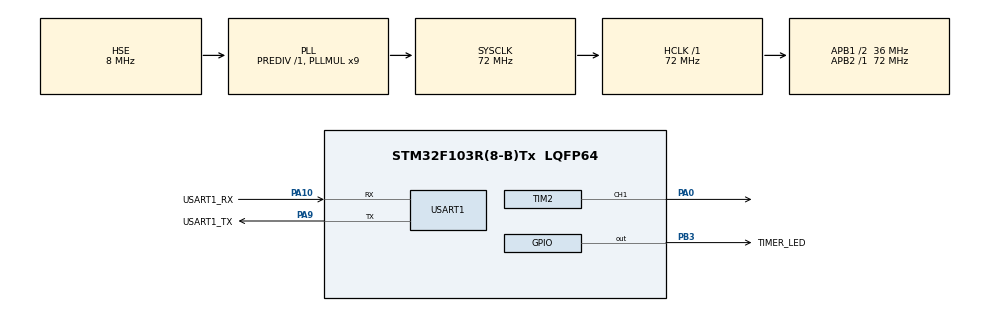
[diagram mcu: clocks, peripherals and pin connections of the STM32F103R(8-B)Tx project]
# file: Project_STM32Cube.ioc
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ADC1.Channel-1\#ChannelRegularConversion=ADC_CHANNEL_TEMPSENSOR
ADC1.ContinuousConvMode=DISABLE
ADC1.ExternalTrigConv=ADC_EXTERNALTRIGCONV_T3_TRGO
ADC1.NbrOfConversion=1
ADC1.NbrOfConversionFlag=1
ADC1.Rank-1\#ChannelRegularConversion=1
ADC1.SamplingTime-1\#ChannelRegularConversion=ADC_SAMPLETIME_239CYCLES_5
ADC1.master=1
Mcu.Family=STM32F1
Mcu.Name=STM32F103R(8-B)Tx
Mcu.Package=LQFP64
NVIC.ADC1_2_IRQn=true\:0\:0\:false\:false\:true\:true\:true\:true
NVIC.PriorityGroup=NVIC_PRIORITYGROUP_4
PA0-WKUP.Signal=S_TIM2_CH1_ETR
PA10.GPIO_Label=USART1_RX
PA10.Mode=Asynchronous
PA10.Signal=USART1_RX
PA13.Mode=Serial_Wire
PA13.Signal=SYS_JTMS-SWDIO
PA14.Mode=Serial_Wire
PA14.Signal=SYS_JTCK-SWCLK
PA9.GPIO_Label=USART1_TX
PA9.Mode=Asynchronous
PA9.Signal=USART1_TX
PB3.GPIO_Label=TIMER_LED
PB3.Signal=GPIO_Output
PD0-OSC_IN.Mode=HSE-External-Oscillator
PD0-OSC_IN.Signal=RCC_OSC_IN
PD1-OSC_OUT.Mode=HSE-External-Oscillator
PD1-OSC_OUT.Signal=RCC_OSC_OUT
ProjectManager.HeapSize=0x200
ProjectManager.StackSize=0x400
ProjectManager.TargetToolchain=STM32CubeIDE
RCC.ADCPresc=RCC_ADCPCLK2_DIV6
RCC.AHBFreq_Value=72000000
RCC.APB1CLKDivider=RCC_HCLK_DIV2
RCC.APB1Freq_Value=36000000
RCC.APB1TimFreq_Value=72000000
RCC.APB2Freq_Value=72000000
RCC.APB2TimFreq_Value=72000000
RCC.HCLKFreq_Value=72000000
RCC.PLLMUL=RCC_PLL_MUL9
RCC.PLLSourceVirtual=RCC_PLLSOURCE_HSE
RCC.SYSCLKFreq_VALUE=72000000
RCC.SYSCLKSource=RCC_SYSCLKSOURCE_PLLCLK
RCC.USBFreq_Value=72000000
SH.S_TIM2_CH1_ETR.0=TIM2_CH1,PWM Generation1 CH1
TIM2.AutoReloadPreload=TIM_AUTORELOAD_PRELOAD_ENABLE
TIM2.Channel-PWM\ Generation1\ CH1=TIM_CHANNEL_1
TIM2.Period=65535
TIM2.Prescaler=0
TIM2.Pulse-PWM\ Generation1\ CH1=0
TIM3.Period=7200-1
TIM3.Prescaler=200-1
TIM3.TIM_MasterOutputTrigger=TIM_TRGO_UPDATE
USART1.VirtualMode=VM_ASYNC
VP_ADC1_TempSens_Input.Mode=IN-TempSens
VP_TIM2_VS_ClockSourceINT.Mode=Internal
VP_TIM3_VS_ClockSourceINT.Mode=Internal
board=custom

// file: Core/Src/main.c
/* USER CODE BEGIN Header */
/**
  ******************************************************************************
  * @file           : main.c
  * @brief          : Main program body
  ******************************************************************************
  * @attention
  *
  * Copyright (c) 2025 STMicroelectronics.
  * All rights reserved.
  *
  * This software is licensed under terms that can be found in the LICENSE file
  * in the root directory of this software component.
  * If no LICENSE file comes with this software, it is provided AS-IS.
  *
  ******************************************************************************
  */
/* USER CODE END Header */
#include "main.h"

/* USER CODE BEGIN Includes */
#include <stdio.h>
#include <string.h>
/* USER CODE END Includes */

/* USER CODE BEGIN PD */
#define MAX_COUNTER_PERIOD	65535
#define AVG_SLOPE			(4.3F)
#define V_AT_25C			(1.43F)
#define V_REF_INT			(1.2F)
/* USER CODE END PD */

ADC_HandleTypeDef hadc1;

TIM_HandleTypeDef htim2;
TIM_HandleTypeDef htim3;

UART_HandleTypeDef huart1;

void SystemClock_Config(void);
static void MX_GPIO_Init(void);
static void MX_TIM2_Init(void);
static void MX_USART1_UART_Init(void);
static void MX_ADC1_Init(void);
static void MX_TIM3_Init(void);

/* USER CODE BEGIN 0 */
uint16_t adcValue = 0;
uint8_t updateEvent = 0;
float temperatureValue, VRefint;
/* USER CODE END 0 */

int main(void)
{

  /* MCU Configuration--------------------------------------------------------*/

  /* Reset of all peripherals, Initializes the Flash interface and the Systick. */
  HAL_Init();

  /* USER CODE BEGIN Init */
	uint32_t duty_cycle = 0;
  /* USER CODE END Init */

  /* Configure the system clock */
  SystemClock_Config();

  /* Initialize all configured peripherals */
  MX_GPIO_Init();
  MX_TIM2_Init();
  MX_USART1_UART_Init();
  MX_ADC1_Init();
  MX_TIM3_Init();
  /* USER CODE BEGIN 2 */
  // Start Timers
  HAL_TIM_PWM_Start(&htim2, TIM_CHANNEL_1);
  HAL_TIM_Base_Start(&htim3);
  // Calibrate ADCs
  HAL_ADCEx_Calibration_Start(&hadc1);
  // Start ADCs
  HAL_ADC_Start_IT(&hadc1);
  /* USER CODE END 2 */

  /* Infinite loop */
  while (1)
  {

    /* USER CODE BEGIN 3 */

	//While loops to control PWM signal for the LED
	while (duty_cycle < MAX_COUNTER_PERIOD)
	{
		TIM2->CCR1 = duty_cycle;
		duty_cycle += 350;
		HAL_Delay(2);
	}
	while (duty_cycle > 0)
	{
		TIM2->CCR1 = duty_cycle;
		duty_cycle -= 350;
		HAL_Delay(2);
	}
  }
  /* USER CODE END 3 */
}

void SystemClock_Config(void)
{
  RCC_OscInitTypeDef RCC_OscInitStruct = {0};
  RCC_ClkInitTypeDef RCC_ClkInitStruct = {0};
  RCC_PeriphCLKInitTypeDef PeriphClkInit = {0};

  /** Initializes the RCC Oscillators according to the specified parameters
  * in the RCC_OscInitTypeDef structure.
  */
  RCC_OscInitStruct.OscillatorType = RCC_OSCILLATORTYPE_HSE;
  RCC_OscInitStruct.HSEState = RCC_HSE_ON;
  RCC_OscInitStruct.HSEPredivValue = RCC_HSE_PREDIV_DIV1;
  RCC_OscInitStruct.HSIState = RCC_HSI_ON;
  RCC_OscInitStruct.PLL.PLLState = RCC_PLL_ON;
  RCC_OscInitStruct.PLL.PLLSource = RCC_PLLSOURCE_HSE;
  RCC_OscInitStruct.PLL.PLLMUL = RCC_PLL_MUL9;
  if (HAL_RCC_OscConfig(&RCC_OscInitStruct) != HAL_OK)
  {
    Error_Handler();
  }

  /** Initializes the CPU, AHB and APB buses clocks
  */
  RCC_ClkInitStruct.ClockType = RCC_CLOCKTYPE_HCLK|RCC_CLOCKTYPE_SYSCLK
                              |RCC_CLOCKTYPE_PCLK1|RCC_CLOCKTYPE_PCLK2;
  RCC_ClkInitStruct.SYSCLKSource = RCC_SYSCLKSOURCE_PLLCLK;
  RCC_ClkInitStruct.AHBCLKDivider = RCC_SYSCLK_DIV1;
  RCC_ClkInitStruct.APB1CLKDivider = RCC_HCLK_DIV2;
  RCC_ClkInitStruct.APB2CLKDivider = RCC_HCLK_DIV1;

  if (HAL_RCC_ClockConfig(&RCC_ClkInitStruct, FLASH_LATENCY_2) != HAL_OK)
  {
    Error_Handler();
  }
  PeriphClkInit.PeriphClockSelection = RCC_PERIPHCLK_ADC;
  PeriphClkInit.AdcClockSelection = RCC_ADCPCLK2_DIV6;
  if (HAL_RCCEx_PeriphCLKConfig(&PeriphClkInit) != HAL_OK)
  {
    Error_Handler();
  }
}

static void MX_ADC1_Init(void)
{

  ADC_ChannelConfTypeDef sConfig = {0};

  /* USER CODE BEGIN ADC1_Init 1 */
  // Activate internal temperature sensor and internal reference
  ADC1->CR2 |= ADC_CR2_TSVREFE;
  /* USER CODE END ADC1_Init 1 */

  /** Common config
  */
  hadc1.Instance = ADC1;
  hadc1.Init.ScanConvMode = ADC_SCAN_DISABLE;
  hadc1.Init.ContinuousConvMode = DISABLE;
  hadc1.Init.DiscontinuousConvMode = DISABLE;
  hadc1.Init.ExternalTrigConv = ADC_EXTERNALTRIGCONV_T3_TRGO;
  hadc1.Init.DataAlign = ADC_DATAALIGN_RIGHT;
  hadc1.Init.NbrOfConversion = 1;
  if (HAL_ADC_Init(&hadc1) != HAL_OK)
  {
    Error_Handler();
  }

  /** Configure Regular Channel
  */
  sConfig.Channel = ADC_CHANNEL_TEMPSENSOR;
  sConfig.Rank = ADC_REGULAR_RANK_1;
  sConfig.SamplingTime = ADC_SAMPLETIME_239CYCLES_5;
  if (HAL_ADC_ConfigChannel(&hadc1, &sConfig) != HAL_OK)
  {
    Error_Handler();
  }

}

static void MX_TIM2_Init(void)
{

  TIM_ClockConfigTypeDef sClockSourceConfig = {0};
  TIM_MasterConfigTypeDef sMasterConfig = {0};
  TIM_OC_InitTypeDef sConfigOC = {0};

  htim2.Instance = TIM2;
  htim2.Init.Prescaler = 0;
  htim2.Init.CounterMode = TIM_COUNTERMODE_UP;
  htim2.Init.Period = 65535;
  htim2.Init.ClockDivision = TIM_CLOCKDIVISION_DIV1;
  htim2.Init.AutoReloadPreload = TIM_AUTORELOAD_PRELOAD_ENABLE;
  if (HAL_TIM_Base_Init(&htim2) != HAL_OK)
  {
    Error_Handler();
  }
  sClockSourceConfig.ClockSource = TIM_CLOCKSOURCE_INTERNAL;
  if (HAL_TIM_ConfigClockSource(&htim2, &sClockSourceConfig) != HAL_OK)
  {
    Error_Handler();
  }
  if (HAL_TIM_PWM_Init(&htim2) != HAL_OK)
  {
    Error_Handler();
  }
  sMasterConfig.MasterOutputTrigger = TIM_TRGO_RESET;
  sMasterConfig.MasterSlaveMode = TIM_MASTERSLAVEMODE_DISABLE;
  if (HAL_TIMEx_MasterConfigSynchronization(&htim2, &sMasterConfig) != HAL_OK)
  {
    Error_Handler();
  }
  sConfigOC.OCMode = TIM_OCMODE_PWM1;
  sConfigOC.Pulse = 0;
  sConfigOC.OCPolarity = TIM_OCPOLARITY_HIGH;
  sConfigOC.OCFastMode = TIM_OCFAST_DISABLE;
  if (HAL_TIM_PWM_ConfigChannel(&htim2, &sConfigOC, TIM_CHANNEL_1) != HAL_OK)
  {
    Error_Handler();
  }
  HAL_TIM_MspPostInit(&htim2);

}

static void MX_TIM3_Init(void)
{

  TIM_ClockConfigTypeDef sClockSourceConfig = {0};
  TIM_MasterConfigTypeDef sMasterConfig = {0};

  htim3.Instance = TIM3;
  htim3.Init.Prescaler = 200-1;
  htim3.Init.CounterMode = TIM_COUNTERMODE_UP;
  htim3.Init.Period = 7200-1;
  htim3.Init.ClockDivision = TIM_CLOCKDIVISION_DIV1;
  htim3.Init.AutoReloadPreload = TIM_AUTORELOAD_PRELOAD_DISABLE;
  if (HAL_TIM_Base_Init(&htim3) != HAL_OK)
  {
    Error_Handler();
  }
  sClockSourceConfig.ClockSource = TIM_CLOCKSOURCE_INTERNAL;
  if (HAL_TIM_ConfigClockSource(&htim3, &sClockSourceConfig) != HAL_OK)
  {
    Error_Handler();
  }
  sMasterConfig.MasterOutputTrigger = TIM_TRGO_UPDATE;
  sMasterConfig.MasterSlaveMode = TIM_MASTERSLAVEMODE_DISABLE;
  if (HAL_TIMEx_MasterConfigSynchronization(&htim3, &sMasterConfig) != HAL_OK)
  {
    Error_Handler();
  }

}

static void MX_USART1_UART_Init(void)
{

  huart1.Instance = USART1;
  huart1.Init.BaudRate = 115200;
  huart1.Init.WordLength = UART_WORDLENGTH_8B;
  huart1.Init.StopBits = UART_STOPBITS_1;
  huart1.Init.Parity = UART_PARITY_NONE;
  huart1.Init.Mode = UART_MODE_TX_RX;
  huart1.Init.HwFlowCtl = UART_HWCONTROL_NONE;
  huart1.Init.OverSampling = UART_OVERSAMPLING_16;
  if (HAL_UART_Init(&huart1) != HAL_OK)
  {
    Error_Handler();
  }

}

static void MX_GPIO_Init(void)
{
  GPIO_InitTypeDef GPIO_InitStruct = {0};

  /* GPIO Ports Clock Enable */
  __HAL_RCC_GPIOD_CLK_ENABLE();
  __HAL_RCC_GPIOA_CLK_ENABLE();
  __HAL_RCC_GPIOB_CLK_ENABLE();

  /*Configure GPIO pin Output Level */
  HAL_GPIO_WritePin(TIMER_LED_GPIO_Port, TIMER_LED_Pin, GPIO_PIN_RESET);

  /*Configure GPIO pin : TIMER_LED_Pin */
  GPIO_InitStruct.Pin = TIMER_LED_Pin;
  GPIO_InitStruct.Mode = GPIO_MODE_OUTPUT_PP;
  GPIO_InitStruct.Pull = GPIO_NOPULL;
  GPIO_InitStruct.Speed = GPIO_SPEED_FREQ_LOW;
  HAL_GPIO_Init(TIMER_LED_GPIO_Port, &GPIO_InitStruct);

}

/* USER CODE BEGIN 4 */
void HAL_ADC_ConvCpltCallback(ADC_HandleTypeDef* hadc)
{
	if (hadc->Instance == ADC1)
	{
		HAL_GPIO_TogglePin(GPIOB, GPIO_PIN_3);
		adcValue = HAL_ADC_GetValue(hadc);

		// Calcul of the temperature
		VRefint 			= (float)(adcValue * 3.3) / 4095;
		temperatureValue 	= (float)((V_AT_25C - VRefint) / AVG_SLOPE) +25;

		// Sending temperature value to an Arduino UNO board with UART Serial Communication
		char msg[100];
		sprintf(msg, "Internal temperature is %d\r\n", (int)temperatureValue);
		HAL_UART_Transmit(&huart1, (uint8_t*)msg, strlen(msg), 1000);
	}
}
/* USER CODE END 4 */

void Error_Handler(void)
{
  __disable_irq();
  while (1)
  {
  }
}
